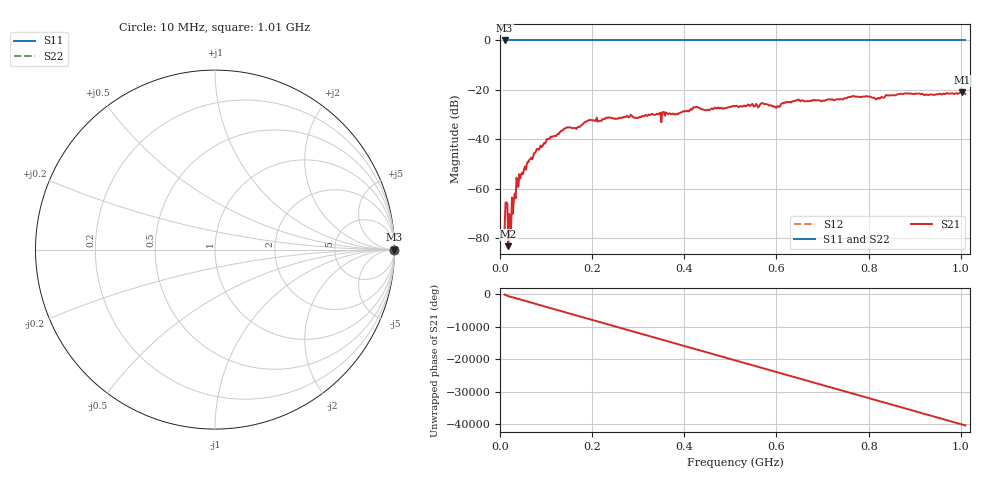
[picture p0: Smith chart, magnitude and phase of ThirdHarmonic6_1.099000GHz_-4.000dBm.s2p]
! 8/16/2025 10:18:39 AM
! C:\ANRITSUVNA\TEMP\TEMP.S2P
! CHANNEL.1
! TR.MEASUREMENT
! RAW.DATA
! RF.CORRECTION.OFF
! AVERAGING.OFF
! IF.BANDWIDTH: 5KHZ
! SWEEPTYPE:  FREQ.SWEEP(Linear)
! Reference Plane Port Info
! PORT:  PORT1  PORT2
! DISTANCE:  0  m  0  m
! TIME:  0  s  0  s
! PHASE.OFFSET:  0  deg.  0  deg.
! LOSS:  0  dB  0  dB
! REF.LOSS:  0  dB  0  dB
! REF.FREQ:  0  Hz  0  Hz
! Power Info
! POWER:  -20  dBm  -20  dBm
! EFF.POWER:  -20  dBm  -20  dBm
! SOURCE.ATTEN:  0  dB  0  dB
! TEST.ATTEN:  0  dB  0  dB
# GHZ S RI R 50.0
! FREQ.GHZ  S11RE  S11IM  S21RE  S21IM  S12RE  S12IM  S22RE  S22IM
!; PortSelection: Port_12
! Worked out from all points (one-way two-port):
!   501 points, 10 MHz to 1.01 GHz, reference 50 ohm
!   highest |S21| = -20.99 dB at 1.002 GHz (marker M1); lowest = -83.3 dB at 18 MHz (marker M2)
!   lowest |S11| = 0.0 dB at 10 MHz (marker M3)
!   |S11| at or under -10 dB: nowhere
!   |S22| runs from 0.0 to 0.0 dB; largest |S21 - S12| = 1.1
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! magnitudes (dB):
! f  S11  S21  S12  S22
! 10 MHz  0.0  -76.2  0.0  0.0
! 12 MHz  0.0  -65.6  0.0  0.0
! 18 MHz  0.0  -83.3  0.0  0.0
! 20 MHz  0.0  -70.2  0.0  0.0
! 22 MHz  0.0  -70.7  0.0  0.0
! 40 MHz  0.0  -59.2  0.0  0.0
! 78 MHz  0.0  -44.8  0.0  0.0
! 142 MHz  0.0  -35.6  0.0  0.0
! 178 MHz  0.0  -34.1  0.0  0.0
! 194 MHz  0.0  -32.3  0.0  0.0
! 344 MHz  0.0  -29.9  0.0  0.0
! 382 MHz  0.0  -29.8  0.0  0.0
! 424 MHz  0.0  -27.1  0.0  0.0
! 450 MHz  0.0  -28.1  0.0  0.0
! 510 MHz  0.0  -26.6  0.0  0.0
! 570 MHz  0.0  -25.4  0.0  0.0
! 602 MHz  0.0  -26.6  0.0  0.0
! 644 MHz  0.0  -24.3  0.0  0.0
! 678 MHz  0.0  -24.4  0.0  0.0
! 844 MHz  0.0  -22.2  0.0  0.0
! 1.002 GHz  0.0  -21.0  0.0  0.0
! 1.01 GHz  0.0  -21.6  0.0  0.0
